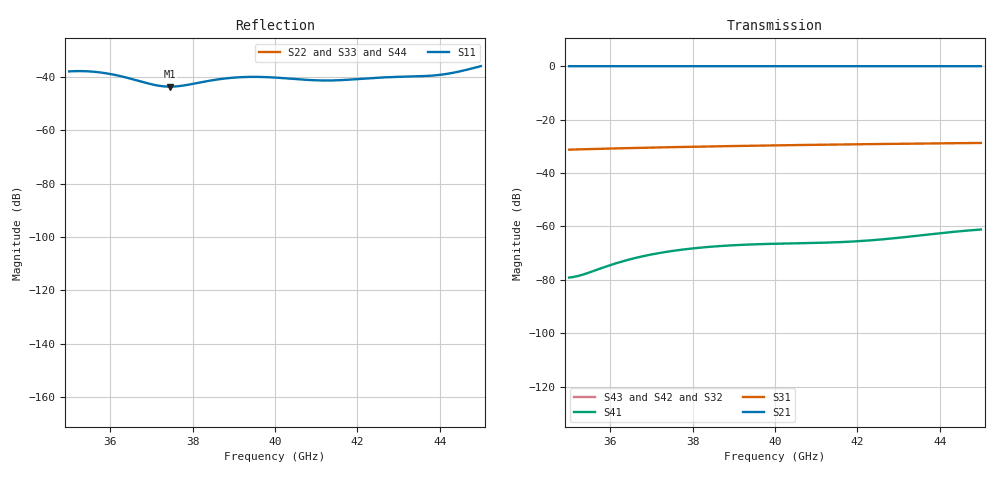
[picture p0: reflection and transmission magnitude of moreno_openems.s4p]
! Moreno cross-guide coupler, openEMS FDTD
! only column 1 (port 1 excited) and, by reciprocity, row 1 are simulated; other entries are zero
! S-parameters are normalised to each port's TE10 wave impedance (generalised
! S-matrix); 'R 50' below is only the placeholder the format requires.
! Reference planes: edges of the common a x a square.
# GHz S MA R 50
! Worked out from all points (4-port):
!   201 points, 35 GHz to 45 GHz, reference 50 ohm
!   strongest paths, dB at 35 GHz, 37.5 GHz, 40 GHz, 42.5 GHz, 45 GHz:
!     S21: 0.0, 0.0, 0.0, 0.0, 0.0
!     S31: -31.3, -30.3, -29.7, -29.2, -28.8
!     S41: -79.2, -69.2, -66.5, -65.0, -61.2
!     S43: -, -, -, -, -
!     S42: -, -, -, -, -
!     S32: -, -, -, -, -
!   lowest |S11| = -43.7 dB at 37.45 GHz (marker M1), VSWR 1.01, Z = 50.4 + j0.489 ohm
!   |S11| at or under -10 dB: start of sweep to end of sweep
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35  0.01262 -48.3  0.9993 -159.4  0.02734 110.6  0.0001102 -132.9
    0.9993 -159.4  0 0.0  0 0.0  0 0.0
    0.02734 110.6  0 0.0  0 0.0  0 0.0
    0.0001102 -132.9  0 0.0  0 0.0  0 0.0
35.85  0.01179 -29.4  0.9997 -168.2  0.02849 101.8  0.000172 160.8
       0.9997 -168.2  0 0.0  0 0.0  0 0.0
       0.02849 101.8  0 0.0  0 0.0  0 0.0
       0.000172 160.8  0 0.0  0 0.0  0 0.0
37.45  0.006545 47.7  0.9997 175.9  0.03039 85.9  0.0003416 103.6
       0.9997 175.9  0 0.0  0 0.0  0 0.0
       0.03039 85.9  0 0.0  0 0.0  0 0.0
       0.0003416 103.6  0 0.0  0 0.0  0 0.0
39.2  0.009863 128.2  0.9994 159.2  0.03216 69.2  0.0004517 67.6
      0.9994 159.2  0 0.0  0 0.0  0 0.0
      0.03216 69.2  0 0.0  0 0.0  0 0.0
      0.0004517 67.6  0 0.0  0 0.0  0 0.0
40.85  0.0087 -173.3  0.9995 144.0  0.03359 54.0  0.0004878 47.2
       0.9995 144.0  0 0.0  0 0.0  0 0.0
       0.03359 54.0  0 0.0  0 0.0  0 0.0
       0.0004878 47.2  0 0.0  0 0.0  0 0.0
43.85  0.01058 -45.0  0.9992 117.2  0.03575 27.2  0.0007215 23.3
       0.9992 117.2  0 0.0  0 0.0  0 0.0
       0.03575 27.2  0 0.0  0 0.0  0 0.0
       0.0007215 23.3  0 0.0  0 0.0  0 0.0
45  0.01582 1.0  0.9993 107.2  0.0365 17.2  0.0008736 1.8
    0.9993 107.2  0 0.0  0 0.0  0 0.0
    0.0365 17.2  0 0.0  0 0.0  0 0.0
    0.0008736 1.8  0 0.0  0 0.0  0 0.0
